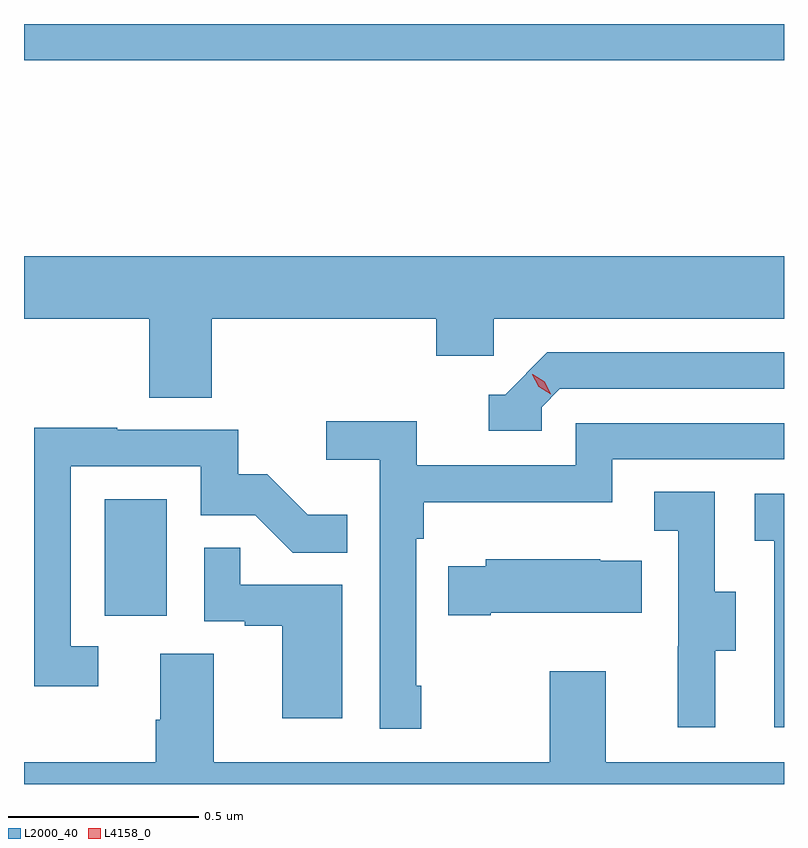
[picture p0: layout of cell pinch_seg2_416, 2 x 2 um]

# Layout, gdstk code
import gdstk
lib = gdstk.Library(unit=1e-6, precision=1e-09)
def R(c, l, rs):  # rectangles x0, y0, x1, y1
    for r in rs: c.add(gdstk.rectangle(r[:2], r[2:], *l))
def P(c, l, *ps):  # polygons
    for p in ps: c.add(gdstk.Polygon(p, *l))
L2000_40 = (2000, 40)
L4158_0 = (4158, 0)

pinch_seg2_416 = lib.new_cell('pinch_seg2_416')
R(pinch_seg2_416, L2000_40, [(957.638,622.878,957.802,623.185), (957.426,624.34,959.426,624.435)])
P(pinch_seg2_416, L2000_40, [(957.92,623.66),(958.511,623.66),(958.511,623.562),(958.662,623.562),(958.662,623.66),(959.426,623.66),(959.426,623.824),(957.426,623.824),(957.426,623.66),(957.755,623.66),(957.755,623.452),(957.92,623.452)],
  [(958.788,623.427),(958.836,623.475),(959.426,623.475),(959.426,623.571),(958.803,623.571),(958.692,623.46),(958.649,623.46),(958.649,623.364),(958.788,623.364)],
  [(958.471,622.693),(958.458,622.693),(958.458,623.081),(958.478,623.081),(958.478,623.177),(958.974,623.177),(958.974,623.289),(959.426,623.289),(959.426,623.385),(958.878,623.385),(958.878,623.274),(958.46,623.274),(958.46,623.39),(958.221,623.39),(958.221,623.288),(958.362,623.288),(958.362,622.581),(958.471,622.581)],
  [(957.622,622.797),(957.549,622.797),(957.549,623.271),(957.891,623.271),(957.891,623.142),(958.035,623.142),(958.133,623.044),(958.277,623.044),(958.277,623.143),(958.173,623.143),(958.066,623.25),(957.99,623.25),(957.99,623.367),(957.671,623.367),(957.671,623.372),(957.453,623.372),(957.453,622.692),(957.622,622.692)],
  [(959.245,622.786),(959.299,622.786),(959.299,622.941),(959.244,622.941),(959.244,623.204),(959.085,623.204),(959.085,623.101),(959.148,623.101),(959.148,622.797),(959.147,622.797),(959.147,622.584),(959.245,622.584)],
  [(959.426,623.199),(959.349,623.199),(959.349,623.075),(959.4,623.075),(959.4,622.584),(959.426,622.584)],
  [(958.264,622.959),(957.995,622.959),(957.995,623.057),(957.9,623.057),(957.9,622.863),(958.007,622.863),(958.007,622.851),(958.106,622.851),(958.106,622.608),(958.264,622.608)],
  [(958.654,622.886),(959.051,622.886),(959.051,623.023),(958.943,623.023),(958.943,623.026),(958.641,623.026),(958.641,623.008),(958.543,623.008),(958.543,622.879),(958.654,622.879)],
  [(959.426,622.492),(958.957,622.492),(958.957,622.732),(958.81,622.732),(958.81,622.492),(957.925,622.492),(957.925,622.778),(957.785,622.778),(957.785,622.604),(957.773,622.604),(957.773,622.492),(957.426,622.492),(957.426,622.435),(959.426,622.435)])
P(pinch_seg2_416, L4158_0, [(958.812,623.461),(958.781,623.48),(958.764,623.512),(958.764,623.513),(958.765,623.513),(958.796,623.494),(958.812,623.462),(958.812,623.461)])

lib.write_gds('pinch_seg2_416.gds')
